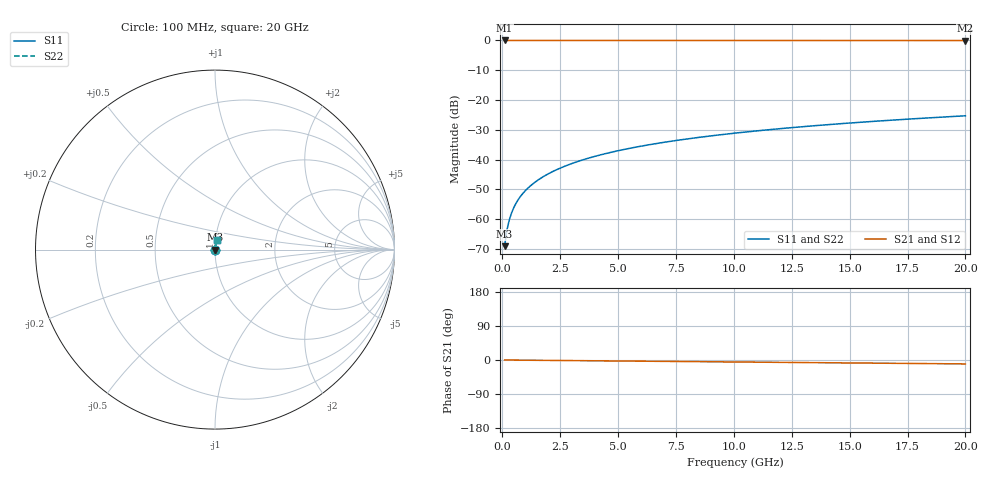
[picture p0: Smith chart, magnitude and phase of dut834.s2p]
! Touchstone file exported from HFSS 2026.1.0
!  File:  C:/ffzhzh/LocalFiles/Ansys_Project_Files/temp_train_TSV_834_1783184763_22436.aedt
!  Generated:  01:07:43 AM Jul  5, 2026
!  Design:  TSV
!  Project:  temp_train_TSV_834_1783184763_22436
! Variables:
!  h_bsmrdl = 2um
!  h_ox = 20um
!  h_rdl = 5um
!  h_sub = 96.05um
!  h_tmrdl = 5um
!  h_tsv = 96.05um
!  h_via = 3um
!  l_bsmrdl = 300um
!  l_sub = 419.5um
!  l_tmrdl = 200um
!  m_sub = 200um
!  pitch = 58.46um
!  r_tsv = 9.75um
!  s_tmrdl = 10um
!  w_bsmrdl = 18um
!  w_sub = 500um
!  w_tmrdl = 12um
!  x_tsv_center1 = 206um
!  x_tsv_center2 = 524um
!  x_tsv_center3 = 736um
!  x_tsv_center4 = 1054um
!  x_tsv_center5 = 1266um
!  x_tsv_center6 = 1584um
# GHz S MA R 50.000000
! Terminal data exported
! Port[1] = TSV1_1_T1
! Port[2] = TSV1_1_T2
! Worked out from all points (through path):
!   200 points, 100 MHz to 20 GHz, reference 50 ohm
!   highest |S21| = 0.00 dB at 100 MHz (marker M1); lowest = 0.0 dB at 20 GHz (marker M2)
!   group delay of S21, straight-line fit = 1.43 ps
!   lowest |S11| = -69.0 dB at 100 MHz (marker M3), VSWR 1.00, Z = 50 + j0.032 ohm
!   |S11| at or under -10 dB: start of sweep to end of sweep
!   |S22| runs from -69.0 to -25.3 dB; largest |S21 - S12| = 2e-15
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0.1  0.0003532 65.1  0.9999 -0.1  0.9999 -0.1  0.0003532 65.1
! Gamma 0 0 0 0
! Port Impedance 50 0 50 0
0.2  0.0006582 75.8  0.9998 -0.1  0.9998 -0.1  0.0006582 75.8
0.3  0.0009685 79.2  0.9998 -0.2  0.9998 -0.2  0.0009685 79.2
0.4  0.001276 80.8  0.9998 -0.2  0.9998 -0.2  0.001276 80.8
0.5  0.001578 81.5  0.9998 -0.3  0.9998 -0.3  0.001578 81.5
0.6  0.001876 82.0  0.9997 -0.3  0.9997 -0.3  0.001876 82.0
0.7  0.002169 82.4  0.9997 -0.4  0.9997 -0.4  0.002169 82.4
0.8  0.002458 82.6  0.9997 -0.4  0.9997 -0.4  0.002458 82.6
1  0.003028 83.0  0.9997 -0.5  0.9997 -0.5  0.003028 83.0
1.4  0.00415 83.6  0.9996 -0.7  0.9996 -0.7  0.00415 83.6
1.7  0.004985 84.0  0.9995 -0.9  0.9995 -0.9  0.004985 84.0
2  0.005819 84.3  0.9995 -1.1  0.9995 -1.1  0.005819 84.3
2.7  0.007763 84.6  0.9994 -1.4  0.9994 -1.4  0.007763 84.6
3.5  0.00998 84.7  0.9993 -1.8  0.9993 -1.8  0.00998 84.7
4.2  0.01191 84.6  0.9993 -2.2  0.9993 -2.2  0.01191 84.6
5  0.01411 84.4  0.9992 -2.6  0.9992 -2.6  0.01411 84.4
6.8  0.01904 83.9  0.999 -3.5  0.999 -3.5  0.01904 83.9
8.3  0.02311 83.3  0.9988 -4.3  0.9988 -4.3  0.02311 83.3
10.1  0.02799 82.6  0.9986 -5.2  0.9986 -5.2  0.02799 82.6
13.4  0.03687 81.2  0.9981 -6.9  0.9981 -6.9  0.03687 81.2
16.7  0.04568 79.7  0.9976 -8.6  0.9976 -8.6  0.04568 79.7
20  0.05439 78.1  0.9971 -10.3  0.9971 -10.3  0.0544 78.1
